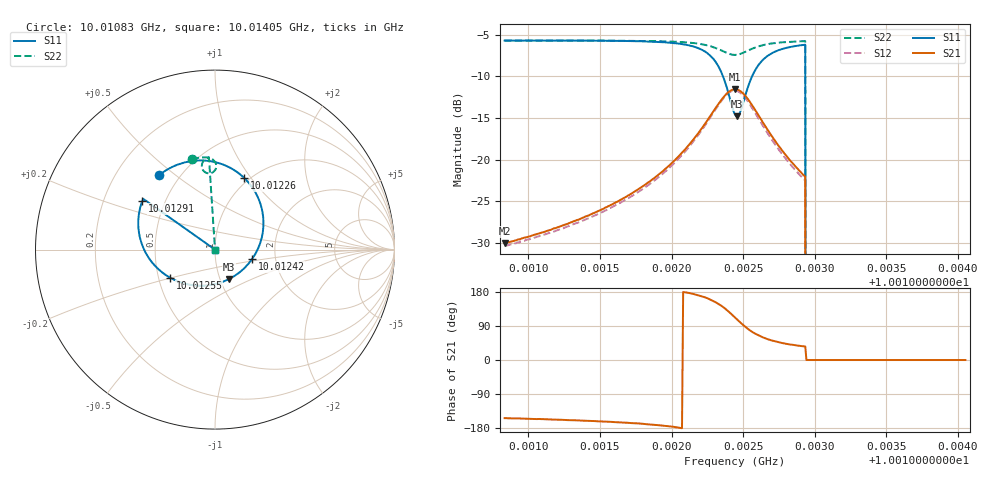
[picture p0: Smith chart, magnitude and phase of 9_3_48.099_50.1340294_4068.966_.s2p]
#  HZ  S  RI  R  50.00
! Rohde & Schwarz Vector Network Analyzer
! Rohde-Schwarz,ZNB20-2Port,1311601062101988,3.16
! Created: UTC 12/23/2023, 3:35:29 AM
! freq[Hz]  re:S11  im:S11  re:S21  im:S21  re:S12  im:S12  re:S22  im:S22
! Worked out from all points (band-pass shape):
!   401 points, 10.01083 GHz to 10.01405 GHz, reference 50 ohm
!   highest |S21| = -11.55 dB at 10.01244 GHz (marker M1); lowest = -30.1 dB at 10.01083 GHz (marker M2)
!   |S21| within 3 dB of the highest: 10.01228 GHz to 10.0126 GHz (323.9 kHz wide, 0.00324 % of centre)
!   lowest |S11| = -14.8 dB at 10.01246 GHz (marker M3), VSWR 1.44, Z = 55.1 - j18.7 ohm
!   |S11| at or under -10 dB: 10.01236 GHz to 10.01256 GHz (202.9 kHz wide, 0.00203 % of centre); 10.01293 GHz to end of sweep
!   |S22| runs from - to -5.7 dB; largest |S21 - S12| = 0.012
!   S11 on the Smith chart (normalised r, x): 10.01083 GHz: 0.39, +0.44; 10.01226 GHz: 0.95, +0.93; 10.01242 GHz: 1.51, -0.16; 10.01255 GHz: 0.57, -0.20; 10.01291 GHz: 0.37, +0.26; 10.01405 GHz: 1.00, +0.00
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1.0010834e10  -0.3105 0.4161  -0.028 -0.014  -0.0261 -0.0151  -0.1281 0.5039
1.0011373e10  -0.2517 0.4538  -0.0417 -0.0152  -0.0392 -0.017  -0.0901 0.5118
1.0011671e10  -0.1982 0.477  -0.057 -0.015  -0.0541 -0.0175  -0.0662 0.5142
1.0011912e10  -0.1231 0.4943  -0.0808 -0.0113  -0.0771 -0.0153  -0.0431 0.5132
1.0012138e10  0.0213 0.4818  -0.1269 0.00973  -0.1235 0.00259  -0.0149 0.5032
1.0012258e10  0.1638 0.398  -0.1673 0.0557  -0.1663 0.0455  0.00279 0.484
1.0012307e10  0.2272 0.3152  -0.1806 0.0931  -0.1822 0.0818  0.00704 0.4693
1.0012355e10  0.2684 0.1808  -0.1813 0.1455  -0.1846 0.1361  0.0044 0.4505
1.0012419e10  0.2074 -0.0519  -0.1334 0.225  -0.1394 0.2169  -0.0175 0.4277
1.0012443e10  0.1372 -0.1265  -0.0999 0.245  -0.1045 0.2382  -0.0308 0.4247
1.001246e10  0.0777 -0.1644  -0.0747 0.2527  -0.0794 0.2457  -0.0399 0.4252
1.00125e10  -0.0848 -0.2014  -0.0115 0.2498  -0.0149 0.2426  -0.0594 0.4345
1.0012548e10  -0.2507 -0.1562  0.046 0.2171  0.0382 0.2108  -0.0714 0.4525
1.0012604e10  -0.3629 -0.0551  0.0768 0.17  0.0694 0.1645  -0.0731 0.4728
1.0012669e10  -0.4151 0.0545  0.0868 0.1251  0.0788 0.1217  -0.067 0.4892
1.0012773e10  -0.4264 0.1791  0.0804 0.0797  0.0733 0.0787  -0.0533 0.5041
1.001291e10  -0.4049 0.2712  0.0664 0.0493  0.0609 0.0496  -0.0366 0.5133
1.0012918e10  -0.4032 0.2756  0.0654 0.0481  0.06 0.0484  -0.0357 0.5137
1.0012958e10  0 0  0 0  0 0  0 0
1.0012983e10  0 0  0 0  0 0  0 0
1.0013522e10  0 0  0 0  0 0  0 0
1.0014053e10  0 0  0 0  0 0  0 0
